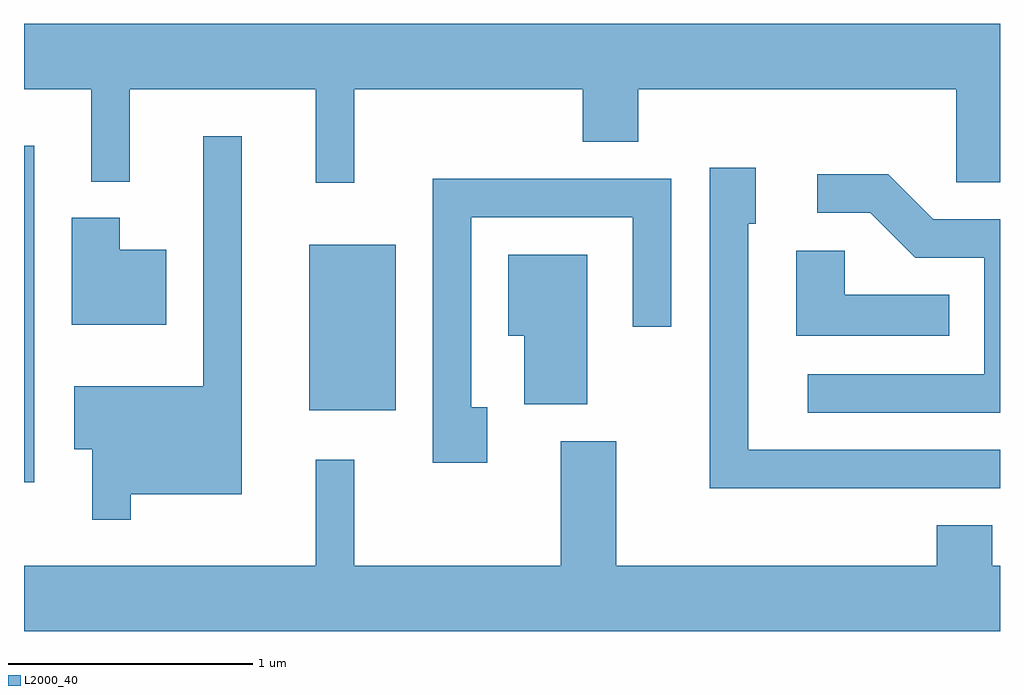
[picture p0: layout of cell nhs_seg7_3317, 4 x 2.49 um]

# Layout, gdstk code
import gdstk
lib = gdstk.Library(unit=1e-6, precision=1e-09)
def R(c, l, rs):  # rectangles x0, y0, x1, y1
    for r in rs: c.add(gdstk.rectangle(r[:2], r[2:], *l))
def P(c, l, *ps):  # polygons
    for p in ps: c.add(gdstk.Polygon(p, *l))
L2000_40 = (2000, 40)

nhs_seg7_3317 = lib.new_cell('nhs_seg7_3317')
R(nhs_seg7_3317, L2000_40, [(287.611,1679.406,287.654,1680.784), (288.781,1679.701,289.134,1680.379)])
P(nhs_seg7_3317, L2000_40, [(288.964,1681.016),(289.901,1681.016),(289.901,1680.801),(290.129,1680.801),(290.129,1681.016),(291.431,1681.016),(291.431,1680.636),(291.611,1680.636),(291.611,1681.284),(287.611,1681.284),(287.611,1681.016),(287.886,1681.016),(287.886,1680.638),(288.044,1680.638),(288.044,1681.016),(288.806,1681.016),(288.806,1680.633),(288.964,1680.633)],
  [(288.049,1679.356),(288.504,1679.356),(288.504,1680.823),(288.346,1680.823),(288.346,1679.799),(287.816,1679.799),(287.816,1679.541),(287.891,1679.541),(287.891,1679.253),(288.049,1679.253)],
  [(291.611,1679.539),(290.579,1679.539),(290.579,1680.466),(290.609,1680.466),(290.609,1680.694),(290.421,1680.694),(290.421,1679.381),(291.611,1679.381)],
  [(291.611,1680.484),(291.337,1680.484),(291.152,1680.669),(290.863,1680.669),(290.863,1680.511),(291.079,1680.511),(291.264,1680.326),(291.546,1680.326),(291.546,1679.849),(290.823,1679.849),(290.823,1679.691),(291.611,1679.691)],
  [(289.509,1679.714),(289.444,1679.714),(289.444,1680.491),(290.106,1680.491),(290.106,1680.043),(290.264,1680.043),(290.264,1680.649),(289.286,1680.649),(289.286,1679.486),(289.509,1679.486)],
  [(288.194,1680.359),(288.004,1680.359),(288.004,1680.489),(287.806,1680.489),(287.806,1680.051),(288.194,1680.051)],
  [(291.403,1680.174),(290.974,1680.174),(290.974,1680.354),(290.776,1680.354),(290.776,1680.006),(291.403,1680.006)],
  [(289.919,1680.339),(289.596,1680.339),(289.596,1680.006),(289.661,1680.006),(289.661,1679.726),(289.919,1679.726)],
  [(291.611,1679.064),(291.579,1679.064),(291.579,1679.229),(291.351,1679.229),(291.351,1679.064),(290.039,1679.064),(290.039,1679.574),(289.811,1679.574),(289.811,1679.064),(288.964,1679.064),(288.964,1679.498),(288.806,1679.498),(288.806,1679.064),(287.611,1679.064),(287.611,1678.796),(291.611,1678.796)])

lib.write_gds('nhs_seg7_3317.gds')
